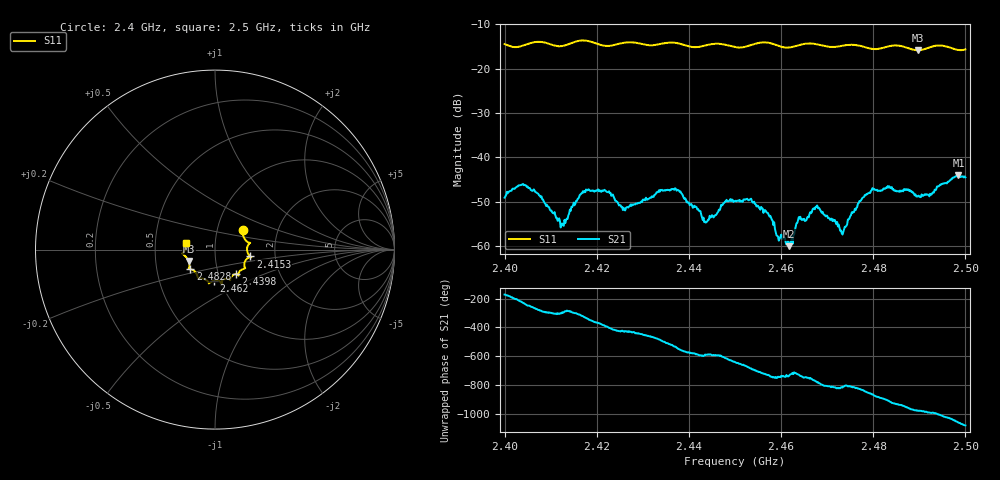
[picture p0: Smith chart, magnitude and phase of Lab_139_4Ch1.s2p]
# Hz S RI R 50
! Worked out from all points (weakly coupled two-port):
!   601 points, 2.4 GHz to 2.5 GHz, reference 50 ohm
!   highest |S21| = -44.06 dB at 2.4985 GHz (marker M1); lowest = -60.0 dB at 2.4617 GHz (marker M2)
!   lowest |S11| = -15.9 dB at 2.4897 GHz (marker M3), VSWR 1.38, Z = 36.9 - j4.79 ohm
!   |S11| at or under -10 dB: start of sweep to end of sweep
!   S12 and S22 are empty: the file has one direction only
!   S11 on the Smith chart (normalised r, x): 2.4 GHz: 1.33, +0.29; 2.4153 GHz: 1.48, -0.12; 2.4398 GHz: 1.21, -0.34; 2.462 GHz: 0.93, -0.33; 2.4828 GHz: 0.74, -0.17; 2.5 GHz: 0.72, +0.06
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2.4e9  0.1553 0.1068  -0.00349 -0.000519  0 0  0 0
2.4045e9  0.1798 0.043  -0.00251 0.00415  0 0  0 0
2.412667e9  0.1796 -0.00988  0.000787 0.00153  0 0  0 0
2.415333e9  0.1965 -0.0383  0.00152 0.00259  0 0  0 0
2.416667e9  0.2026 -0.0425  0.00297 0.00259  0 0  0 0
2.422167e9  0.1672 -0.0662  0.00342 -0.00225  0 0  0 0
2.426167e9  0.1675 -0.1018  0.00105 -0.0023  0 0  0 0
2.433333e9  0.1307 -0.1339  -0.00212 -0.00349  0 0  0 0
2.439833e9  0.1153 -0.1363  -0.0026 0.00165  0 0  0 0
2.443833e9  0.0857 -0.1619  -0.00123 0.00143  0 0  0 0
2.45e9  0.0649 -0.1623  0.000586 0.00316  0 0  0 0
2.456167e9  0.0388 -0.1931  0.00237 -1.17e-05  0 0  0 0
2.461667e9  -0.000321 -0.1723  0.000956 -0.000305  0 0  0 0
2.462e9  -0.005 -0.1733  0.0011 -0.00012  0 0  0 0
2.466667e9  -0.0341 -0.188  0.00192 -0.00148  0 0  0 0
2.473333e9  -0.0829 -0.1605  -0.000175 -0.00135  0 0  0 0
2.478e9  -0.0988 -0.1448  -0.00178 -0.00312  0 0  0 0
2.482833e9  -0.1366 -0.1094  -0.00459 0.000181  0 0  0 0
2.483333e9  -0.1403 -0.1092  -0.00453 0.000685  0 0  0 0
2.489667e9  -0.1475 -0.0633  -0.000775 0.00355  0 0  0 0
2.4985e9  -0.1612 0.0129  0.0059 0.0021  0 0  0 0
2.5e9  -0.1596 0.0391  0.00598 -6.22e-05  0 0  0 0
